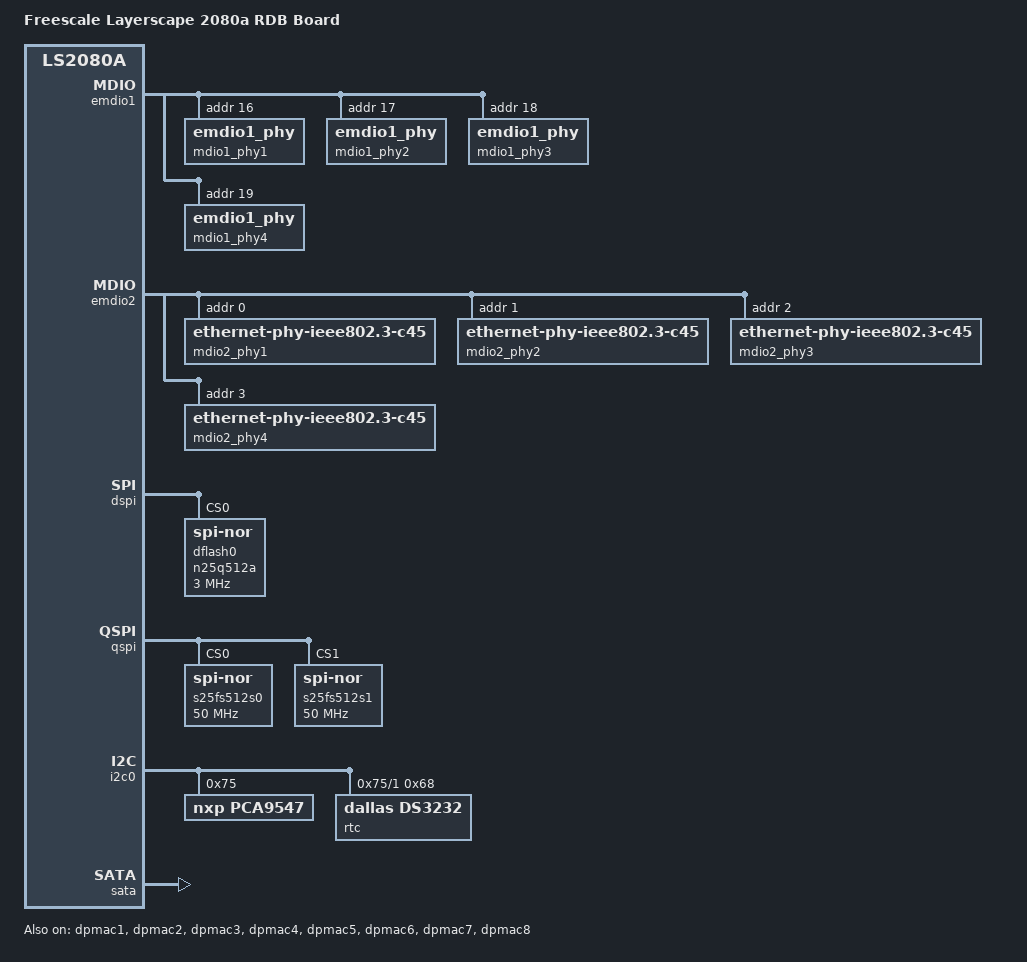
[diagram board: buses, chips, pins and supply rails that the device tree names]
// SPDX-License-Identifier: GPL-2.0+ OR X11
/*
 * NXP ls2080a RDB board device tree source for QSPI-boot
 *
 * Author: Priyanka Jain <priyanka.jain@nxp.com>
 *
 * Copyright 2017 NXP
 */

/dts-v1/;

#include "fsl-ls2080a.dtsi"

/ {
	model = "Freescale Layerscape 2080a RDB Board";
	compatible = "fsl,ls2080a-rdb", "fsl,ls2080a";

	aliases {
		spi0 = &qspi;
		spi1 = &dspi;
	};
};

&dpmac1 {
	status = "okay";
	phy-handle = <&mdio1_phy1>;
	phy-connection-type = "10gbase-r";
};

&dpmac2 {
	status = "okay";
	phy-handle = <&mdio1_phy2>;
	phy-connection-type = "10gbase-r";
};

&dpmac3 {
	status = "okay";
	phy-handle = <&mdio1_phy3>;
	phy-connection-type = "10gbase-r";
};

&dpmac4 {
	status = "okay";
	phy-handle = <&mdio1_phy4>;
	phy-connection-type = "10gbase-r";
};

&dpmac5 {
	status = "okay";
	phy-handle = <&mdio2_phy1>;
	phy-connection-type = "10gbase-r";
};

&dpmac6 {
	status = "okay";
	phy-handle = <&mdio2_phy2>;
	phy-connection-type = "10gbase-r";
};

&dpmac7 {
	status = "okay";
	phy-handle = <&mdio2_phy3>;
	phy-connection-type = "10gbase-r";
};

&dpmac8 {
	status = "okay";
	phy-handle = <&mdio2_phy4>;
	phy-connection-type = "10gbase-r";
};

&emdio1 {
	status = "okay";

	/* CS4340 PHYs */
	mdio1_phy1: emdio1_phy@1 {
		reg = <0x10>;
	};
	mdio1_phy2: emdio1_phy@2 {
		reg = <0x11>;
	};
	mdio1_phy3: emdio1_phy@3 {
		reg = <0x12>;
	};
	mdio1_phy4: emdio1_phy@4 {
		reg = <0x13>;
	};
};

&emdio2 {
	status = "okay";

	/* AQR405 PHYs */
	mdio2_phy1: emdio2_phy@1 {
		compatible = "ethernet-phy-ieee802.3-c45";
		reg = <0x0>;
	};
	mdio2_phy2: emdio2_phy@2 {
		compatible = "ethernet-phy-ieee802.3-c45";
		reg = <0x1>;
	};
	mdio2_phy3: emdio2_phy@3 {
		compatible = "ethernet-phy-ieee802.3-c45";
		reg = <0x2>;
	};
	mdio2_phy4: emdio2_phy@4 {
		compatible = "ethernet-phy-ieee802.3-c45";
		reg = <0x3>;
	};
};

&dspi {
	bus-num = <0>;
	status = "okay";

	dflash0: n25q512a {
		#address-cells = <1>;
		#size-cells = <1>;
		compatible = "jedec,spi-nor";
		spi-max-frequency = <3000000>;
		spi-cpol;
		spi-cpha;
		reg = <0>;
	};
};

&qspi {
	status = "okay";

	s25fs512s0: flash@0 {
		#address-cells = <1>;
		#size-cells = <1>;
		compatible = "jedec,spi-nor";
		spi-max-frequency = <50000000>;
		reg = <0>;
	};

	s25fs512s1: flash@1 {
		#address-cells = <1>;
		#size-cells = <1>;
		compatible = "jedec,spi-nor";
		spi-max-frequency = <50000000>;
		reg = <1>;
	};
};

&i2c0 {
	status = "okay";
	bootph-all;

	pca9547@75 {
		compatible = "nxp,pca9547";
		reg = <0x75>;
		#address-cells = <1>;
		#size-cells = <0>;

		 i2c@1 {
			#address-cells = <1>;
			#size-cells = <0>;
			reg = <0x01>;
			rtc@68 {
				compatible = "dallas,ds3232";
				reg = <0x68>;
			};
		};
	};
};

&sata {
	status = "okay";
};
